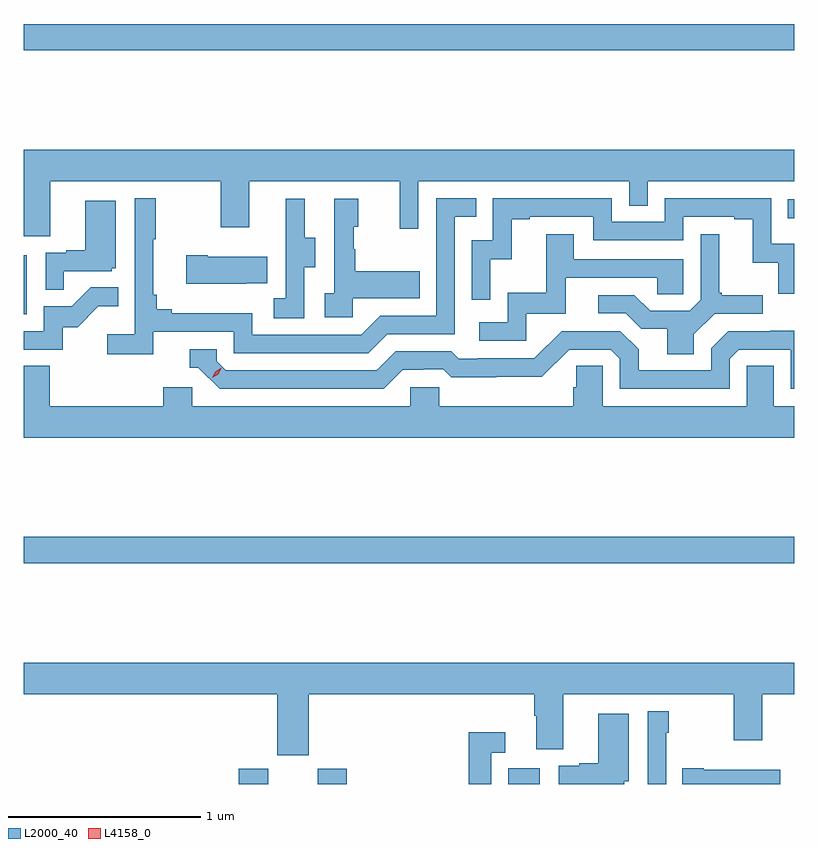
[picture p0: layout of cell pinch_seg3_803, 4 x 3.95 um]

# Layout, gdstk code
import gdstk
lib = gdstk.Library(unit=1e-6, precision=1e-09)
def R(c, l, rs):  # rectangles x0, y0, x1, y1
    for r in rs: c.add(gdstk.rectangle(r[:2], r[2:], *l))
def P(c, l, *ps):  # polygons
    for p in ps: c.add(gdstk.Polygon(p, *l))
L2000_40 = (2000, 40)
L4158_0 = (4158, 0)

pinch_seg3_803 = lib.new_cell('pinch_seg3_803')
R(pinch_seg3_803, L2000_40, [(876.986,715.101,877.138,715.179), (877.394,715.101,877.547,715.179), (878.384,715.101,878.548,715.183), (875.869,716.248,879.869,716.384), (875.869,717.54,875.884,717.847), (879.835,718.04,879.869,718.137), (875.869,718.912,879.869,719.048)])
P(pinch_seg3_803, L2000_40, [(876.007,718.232),(876.892,718.232),(876.892,717.993),(877.039,717.993),(877.039,718.232),(877.82,718.232),(877.82,717.984),(877.917,717.984),(877.917,718.232),(879.012,718.232),(879.012,718.105),(879.108,718.105),(879.108,718.232),(879.869,718.232),(879.869,718.396),(875.869,718.396),(875.869,717.946),(876.007,717.946)],
  [(876.542,717.45),(876.96,717.45),(876.96,717.339),(877.657,717.339),(877.756,717.438),(878.106,717.438),(878.106,718.047),(878.219,718.047),(878.219,718.143),(878.01,718.143),(878.01,717.534),(877.719,717.534),(877.62,717.435),(877.056,717.435),(877.056,717.547),(876.637,717.547),(876.637,717.566),(876.56,717.566),(876.56,717.643),(876.541,717.643),(876.541,717.931),(876.553,717.931),(876.553,718.144),(876.444,718.144),(876.444,717.436),(876.303,717.436),(876.303,717.334),(876.542,717.334)],
  [(878.292,717.827),(878.402,717.827),(878.402,718.035),(878.497,718.035),(878.497,718.047),(878.826,718.047),(878.826,717.924),(879.294,717.924),(879.294,718.047),(879.557,718.047),(879.557,718.035),(879.653,718.035),(879.653,717.809),(879.786,717.809),(879.786,717.648),(879.869,717.648),(879.869,717.907),(879.75,717.907),(879.75,718.143),(879.198,718.143),(879.198,718.02),(878.922,718.02),(878.922,718.143),(878.304,718.143),(878.304,717.924),(878.196,717.924),(878.196,717.615),(878.292,717.615)],
  [(877.578,717.623),(877.925,717.623),(877.925,717.763),(877.591,717.763),(877.591,717.878),(877.581,717.878),(877.581,717.996),(877.606,717.996),(877.606,718.141),(877.482,718.141),(877.482,717.65),(877.431,717.65),(877.431,717.525),(877.578,717.525)],
  [(877.326,717.784),(877.381,717.784),(877.381,717.939),(877.327,717.939),(877.327,718.141),(877.229,718.141),(877.229,717.927),(877.23,717.927),(877.23,717.623),(877.167,717.623),(877.167,717.52),(877.326,717.52)],
  [(876.077,717.765),(876.324,717.765),(876.324,717.78),(876.346,717.78),(876.346,718.129),(876.188,718.129),(876.188,717.874),(876.089,717.874),(876.089,717.861),(875.982,717.861),(875.982,717.667),(876.077,717.667)],
  [(879.349,717.436),(879.456,717.543),(879.706,717.543),(879.706,717.64),(879.493,717.64),(879.493,717.652),(879.481,717.652),(879.481,717.955),(879.384,717.955),(879.384,717.615),(879.327,717.558),(879.121,717.558),(879.04,717.639),(878.853,717.639),(878.853,717.546),(878.994,717.546),(879.074,717.466),(879.209,717.466),(879.209,717.334),(879.349,717.334)],
  [(878.478,717.543),(878.683,717.543),(878.683,717.729),(879.157,717.729),(879.157,717.645),(879.294,717.645),(879.294,717.825),(878.725,717.825),(878.725,717.955),(878.581,717.955),(878.581,717.652),(878.382,717.652),(878.382,717.498),(878.235,717.498),(878.235,717.402),(878.478,717.402)],
  [(877.025,717.701),(877.133,717.701),(877.133,717.838),(876.823,717.838),(876.823,717.846),(876.711,717.846),(876.711,717.698),(877.025,717.698)],
  [(876.072,717.474),(876.148,717.474),(876.255,717.581),(876.359,717.581),(876.359,717.68),(876.215,717.68),(876.117,717.582),(875.973,717.582),(875.973,717.453),(875.869,717.453),(875.869,717.357),(876.072,717.357)],
  [(877.837,717.252),(877.944,717.252),(877.944,717.255),(878.047,717.255),(878.089,717.213),(878.322,717.213),(878.322,717.215),(878.558,717.215),(878.7,717.357),(878.916,717.357),(878.964,717.309),(878.964,717.153),(879.534,717.153),(879.534,717.309),(879.582,717.357),(879.852,717.357),(879.852,717.153),(879.869,717.153),(879.869,717.455),(879.744,717.455),(879.744,717.453),(879.528,717.453),(879.438,717.363),(879.438,717.249),(879.061,717.249),(879.061,717.359),(878.967,717.453),(878.661,717.453),(878.52,717.312),(878.227,717.312),(878.227,717.309),(878.128,717.309),(878.089,717.348),(877.8,717.348),(877.701,717.249),(876.918,717.249),(876.87,717.297),(876.87,717.36),(876.731,717.36),(876.731,717.264),(876.774,717.264),(876.885,717.153),(877.738,717.153)],
  [(879.869,717.064),(879.763,717.064),(879.763,717.272),(879.624,717.272),(879.624,717.064),(878.874,717.064),(878.874,717.272),(878.737,717.272),(878.737,717.162),(878.723,717.162),(878.723,717.064),(878.025,717.064),(878.025,717.162),(877.875,717.162),(877.875,717.064),(876.744,717.064),(876.744,717.162),(876.593,717.162),(876.593,717.064),(876.002,717.064),(876.002,717.272),(875.869,717.272),(875.869,716.9),(879.869,716.9)],
  [(875.869,715.568),(877.184,715.568),(877.184,715.251),(877.348,715.251),(877.348,715.568),(878.519,715.568),(878.519,715.456),(878.531,715.456),(878.531,715.282),(878.671,715.282),(878.671,715.568),(879.556,715.568),(879.556,715.329),(879.703,715.329),(879.703,715.568),(879.869,715.568),(879.869,715.732),(875.869,715.732)],
  [(879.204,715.367),(879.217,715.367),(879.217,715.48),(879.108,715.48),(879.108,715.101),(879.204,715.101)],
  [(878.988,715.116),(879.01,715.116),(879.01,715.465),(878.852,715.465),(878.852,715.21),(878.753,715.21),(878.753,715.197),(878.646,715.197),(878.646,715.101),(878.988,715.101)],
  [(878.295,715.263),(878.368,715.263),(878.368,715.369),(878.179,715.369),(878.179,715.101),(878.295,715.101)],
  [(879.797,715.174),(879.4,715.174),(879.4,715.182),(879.289,715.182),(879.289,715.101),(879.797,715.101)])
P(pinch_seg3_803, L4158_0, [(876.848,717.21),(876.848,717.21),(876.863,717.243),(876.894,717.263),(876.894,717.263),(876.894,717.263),(876.878,717.23),(876.848,717.21)])

lib.write_gds('pinch_seg3_803.gds')
